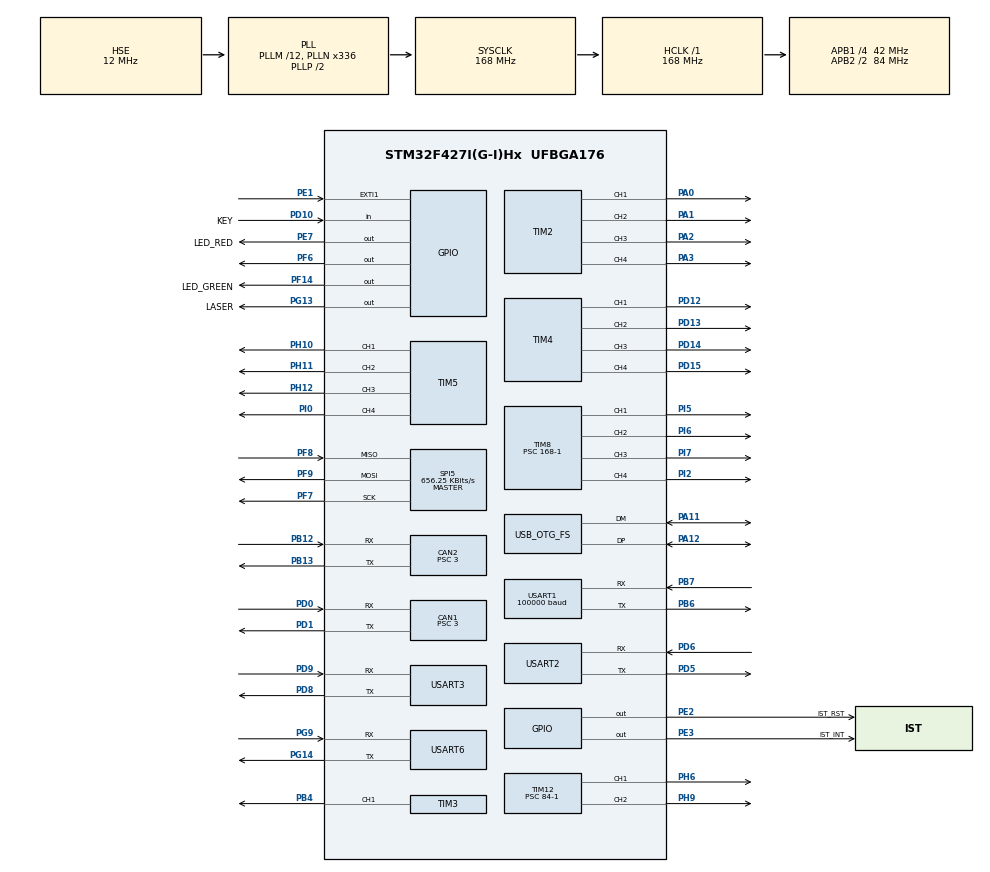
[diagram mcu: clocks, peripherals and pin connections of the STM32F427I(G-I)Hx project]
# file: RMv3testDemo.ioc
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CAN1.ABOM=DISABLE
CAN1.BS1=CAN_BS1_9TQ
CAN1.BS2=CAN_BS2_4TQ
CAN1.CalculateTimeBit=1000
CAN1.CalculateTimeQuantum=71.42857142857143
CAN1.Mode=CAN_MODE_LOOPBACK
CAN1.Prescaler=3
CAN1.SJW=CAN_SJW_1TQ
CAN1.TXFP=ENABLE
CAN2.ABOM=DISABLE
CAN2.BS1=CAN_BS1_9TQ
CAN2.BS2=CAN_BS2_4TQ
CAN2.CalculateTimeBit=1000
CAN2.CalculateTimeQuantum=71.42857142857143
CAN2.Mode=CAN_MODE_LOOPBACK
CAN2.Prescaler=3
CAN2.TXFP=ENABLE
Dma.Request0=USART1_RX
Dma.USART1_RX.0.Direction=DMA_PERIPH_TO_MEMORY
Dma.USART1_RX.0.FIFOMode=DMA_FIFOMODE_DISABLE
Dma.USART1_RX.0.Instance=DMA2_Stream2
Dma.USART1_RX.0.MemDataAlignment=DMA_MDATAALIGN_BYTE
Dma.USART1_RX.0.MemInc=DMA_MINC_ENABLE
Dma.USART1_RX.0.Mode=DMA_CIRCULAR
Dma.USART1_RX.0.PeriphDataAlignment=DMA_PDATAALIGN_BYTE
Dma.USART1_RX.0.PeriphInc=DMA_PINC_DISABLE
Dma.USART1_RX.0.Priority=DMA_PRIORITY_LOW
Mcu.Family=STM32F4
Mcu.Name=STM32F427I(G-I)Hx
Mcu.Package=UFBGA176
NVIC.CAN1_RX0_IRQn=true\:1\:1\:true\:false\:true
NVIC.CAN1_TX_IRQn=true\:1\:1\:true\:false\:true
NVIC.CAN2_RX0_IRQn=true\:1\:1\:true\:false\:true
NVIC.CAN2_TX_IRQn=true\:1\:1\:true\:false\:true
NVIC.DMA2_Stream2_IRQn=true\:0\:0\:false\:false\:true
NVIC.EXTI1_IRQn=true\:0\:2\:false\:false\:true
NVIC.OTG_FS_IRQn=true\:1\:2\:true\:false\:true
NVIC.PriorityGroup=NVIC_PRIORITYGROUP_2
NVIC.TIM6_DAC_IRQn=true\:0\:1\:false\:false\:true
NVIC.USART1_IRQn=true\:0\:2\:true\:false\:true
NVIC.USART2_IRQn=true\:1\:0\:true\:false\:true
NVIC.USART3_IRQn=true\:1\:0\:true\:false\:true
NVIC.USART6_IRQn=true\:1\:0\:true\:false\:true
PA0/WKUP.Signal=S_TIM2_CH1_ETR
PA1.Signal=S_TIM2_CH2
PA11.Mode=Device_Only
PA11.Signal=USB_OTG_FS_DM
PA12.GPIO_PuPd=GPIO_PULLUP
PA12.Mode=Device_Only
PA12.Signal=USB_OTG_FS_DP
PA13.Mode=Serial_Wire
PA13.Signal=SYS_JTMS-SWDIO
PA14.Mode=Serial_Wire
PA14.Signal=SYS_JTCK-SWCLK
PA2.Signal=S_TIM2_CH3
PA3.Signal=S_TIM2_CH4
PB12.Mode=Slave
PB12.Signal=CAN2_RX
PB13.Mode=Slave
PB13.Signal=CAN2_TX
PB4.Signal=S_TIM3_CH1
PB6.Mode=Multiprocessor_communication
PB6.Signal=USART1_TX
PB7.Mode=Multiprocessor_communication
PB7.Signal=USART1_RX
PD0.Mode=Master
PD0.Signal=CAN1_RX
PD1.Mode=Master
PD1.Signal=CAN1_TX
PD10.GPIO_Label=KEY
PD10.Signal=GPIO_Input
PD12.Signal=S_TIM4_CH1
PD13.Signal=S_TIM4_CH2
PD14.Signal=S_TIM4_CH3
PD15.Signal=S_TIM4_CH4
PD5.Mode=Multiprocessor_communication
PD5.Signal=USART2_TX
PD6.Mode=Multiprocessor_communication
PD6.Signal=USART2_RX
PD8.Mode=Multiprocessor_communication
PD8.Signal=USART3_TX
PD9.Mode=Multiprocessor_communication
PD9.Signal=USART3_RX
PE1.Signal=GPXTI1
PE2.GPIO_Label=IST_RST
PE2.GPIO_Speed=GPIO_SPEED_FREQ_VERY_HIGH
PE2.Signal=GPIO_Output
PE3.GPIO_Label=IST_INT
PE3.GPIO_Speed=GPIO_SPEED_FREQ_VERY_HIGH
PE3.Signal=GPIO_Output
PE7.GPIO_Label=LED_RED
PE7.Signal=GPIO_Output
PF14.GPIO_Label=LED_GREEN
PF14.Signal=GPIO_Output
PF6.Signal=GPIO_Output
PF7.Mode=Full_Duplex_Master
PF7.Signal=SPI5_SCK
PF8.Mode=Full_Duplex_Master
PF8.Signal=SPI5_MISO
PF9.Mode=Full_Duplex_Master
PF9.Signal=SPI5_MOSI
PG13.GPIO_Label=LASER
PG13.Signal=GPIO_Output
PG14.Mode=Multiprocessor_communication
PG14.Signal=USART6_TX
PG9.Mode=Multiprocessor_communication
PG9.Signal=USART6_RX
PH0/OSC_IN.Mode=HSE-External-Oscillator
PH0/OSC_IN.Signal=RCC_OSC_IN
PH1/OSC_OUT.Mode=HSE-External-Oscillator
PH1/OSC_OUT.Signal=RCC_OSC_OUT
PH10.Signal=S_TIM5_CH1
PH11.Signal=S_TIM5_CH2
PH12.Signal=S_TIM5_CH3
PH6.Signal=S_TIM12_CH1
PH9.Signal=S_TIM12_CH2
PI0.Signal=S_TIM5_CH4
PI2.Signal=S_TIM8_CH4
PI5.Signal=S_TIM8_CH1
PI6.Signal=S_TIM8_CH2
PI7.Signal=S_TIM8_CH3
ProjectManager.HeapSize=0x1000
ProjectManager.StackSize=0x400
ProjectManager.TargetToolchain=MDK-ARM V5
RCC.48MHZClocksFreq_Value=48000000
RCC.AHBFreq_Value=168000000
RCC.APB1CLKDivider=RCC_HCLK_DIV4
RCC.APB1Freq_Value=42000000
RCC.APB1TimFreq_Value=84000000
RCC.APB2CLKDivider=RCC_HCLK_DIV2
RCC.APB2Freq_Value=84000000
RCC.APB2TimFreq_Value=168000000
RCC.CortexFreq_Value=168000000
RCC.HCLKFreq_Value=168000000
RCC.HSE_VALUE=12000000
RCC.HSI_VALUE=16000000
RCC.LSE_VALUE=32768
RCC.PLLM=12
RCC.PLLN=336
RCC.PLLQ=7
RCC.SYSCLKFreq_VALUE=168000000
RCC.SYSCLKSource=RCC_SYSCLKSOURCE_PLLCLK
RCC.VCOOutputFreq_Value=336000000
SH.S_TIM12_CH1.0=TIM12_CH1,PWM Generation1 CH1
SH.S_TIM12_CH2.0=TIM12_CH2,PWM Generation2 CH2
SH.S_TIM2_CH1_ETR.0=TIM2_CH1,PWM Generation1 CH1
SH.S_TIM2_CH2.0=TIM2_CH2,PWM Generation2 CH2
SH.S_TIM2_CH3.0=TIM2_CH3,PWM Generation3 CH3
SH.S_TIM2_CH4.0=TIM2_CH4,PWM Generation4 CH4
SH.S_TIM3_CH1.0=TIM3_CH1,PWM Generation1 CH1
SH.S_TIM4_CH1.0=TIM4_CH1,PWM Generation1 CH1
SH.S_TIM4_CH2.0=TIM4_CH2,PWM Generation2 CH2
SH.S_TIM4_CH3.0=TIM4_CH3,PWM Generation3 CH3
SH.S_TIM4_CH4.0=TIM4_CH4,PWM Generation4 CH4
SH.S_TIM5_CH1.0=TIM5_CH1,PWM Generation1 CH1
SH.S_TIM5_CH2.0=TIM5_CH2,PWM Generation2 CH2
SH.S_TIM5_CH3.0=TIM5_CH3,PWM Generation3 CH3
SH.S_TIM5_CH4.0=TIM5_CH4,PWM Generation4 CH4
SH.S_TIM8_CH1.0=TIM8_CH1,PWM Generation1 CH1
SH.S_TIM8_CH2.0=TIM8_CH2,PWM Generation2 CH2
SH.S_TIM8_CH3.0=TIM8_CH3,PWM Generation3 CH3
SH.S_TIM8_CH4.0=TIM8_CH4,PWM Generation4 CH4
SPI5.BaudRatePrescaler=SPI_BAUDRATEPRESCALER_128
SPI5.CalculateBaudRate=656.25 KBits/s
SPI5.Mode=SPI_MODE_MASTER
TIM12.Channel-PWM\ Generation2\ CH2=TIM_CHANNEL_2
TIM12.Period=2500-1
TIM12.Prescaler=84-1
TIM12.Pulse-PWM\ Generation1\ CH1=1000
TIM2.Channel-PWM\ Generation2\ CH2=TIM_CHANNEL_2
TIM2.Channel-PWM\ Generation3\ CH3=TIM_CHANNEL_3
TIM2.Channel-PWM\ Generation4\ CH4=TIM_CHANNEL_4
TIM3.Prescaler=84-1
TIM4.Channel-PWM\ Generation2\ CH2=TIM_CHANNEL_2
TIM4.Channel-PWM\ Generation3\ CH3=TIM_CHANNEL_3
TIM4.Channel-PWM\ Generation4\ CH4=TIM_CHANNEL_4
TIM5.Channel-PWM\ Generation2\ CH2=TIM_CHANNEL_2
TIM5.Channel-PWM\ Generation3\ CH3=TIM_CHANNEL_3
TIM5.Channel-PWM\ Generation4\ CH4=TIM_CHANNEL_4
TIM6.Period=1000
TIM6.Prescaler=84-1
TIM8.Channel-PWM\ Generation2\ CH2=TIM_CHANNEL_2
TIM8.Channel-PWM\ Generation3\ CH3=TIM_CHANNEL_3
TIM8.Channel-PWM\ Generation4\ CH4=TIM_CHANNEL_4
TIM8.Prescaler=168-1
USART1.BaudRate=100000
USART1.Mode=UART_MODE_RX
USART1.Parity=UART_PARITY_EVEN
USB_DEVICE.CLASS_NAME-CDC_FS=CDC
USB_DEVICE.CLASS_NAME_FS=CDC
USB_DEVICE.USBD_CDC_INTERVAL-CDC_FS=5
USB_DEVICE.USBD_HandleTypeDef-CDC_FS=hUsbDeviceFS
USB_DEVICE.USBD_MAX_STR_DESC_SIZ-CDC_FS=128
USB_DEVICE.VirtualMode-CDC_FS=Cdc
USB_DEVICE.VirtualModeFS=Cdc_FS
USB_OTG_FS.VirtualMode=Device_Only
USB_OTG_FS.vbus_sensing_enable=DISABLE
VP_TIM12_VS_ClockSourceINT.Mode=Internal
VP_TIM2_VS_ClockSourceINT.Mode=Internal
VP_TIM3_VS_ClockSourceINT.Mode=Internal
VP_TIM4_VS_ClockSourceINT.Mode=Internal
VP_TIM5_VS_ClockSourceINT.Mode=Internal
VP_TIM6_VS_ClockSourceINT.Mode=Enable_Timer
VP_TIM8_VS_ClockSourceINT.Mode=Internal
VP_USB_DEVICE_VS_USB_DEVICE_CDC_FS.Mode=CDC_FS
board=RMv3testDemo

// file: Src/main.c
/**
  ******************************************************************************
  * File Name          : main.c
  * Description        : Main program body
  ******************************************************************************
  *
  * Copyright (c) 2016 STMicroelectronics International N.V.
  * All rights reserved.
  *
  * Redistribution and use in source and binary forms, with or without
  * modification, are permitted, provided that the following conditions are met:
  *
  * 1. Redistribution of source code must retain the above copyright notice,
  *    this list of conditions and the following disclaimer.
  * 2. Redistributions in binary form must reproduce the above copyright notice,
  *    this list of conditions and the following disclaimer in the documentation
  *    and/or other materials provided with the distribution.
  * 3. Neither the name of STMicroelectronics nor the names of other
  *    contributors to this software may be used to endorse or promote products
  *    derived from this software without specific written permission.
  * 4. This software, including modifications and/or derivative works of this
  *    software, must execute solely and exclusively on microcontroller or
  *    microprocessor devices manufactured by or for STMicroelectronics.
  * 5. Redistribution and use of this software other than as permitted under
  *    this license is void and will automatically terminate your rights under
  *    this license.
  *
  * THIS SOFTWARE IS PROVIDED BY STMICROELECTRONICS AND CONTRIBUTORS "AS IS"
  * AND ANY EXPRESS, IMPLIED OR STATUTORY WARRANTIES, INCLUDING, BUT NOT
  * LIMITED TO, THE IMPLIED WARRANTIES OF MERCHANTABILITY, FITNESS FOR A
  * PARTICULAR PURPOSE AND NON-INFRINGEMENT OF THIRD PARTY INTELLECTUAL PROPERTY
  * RIGHTS ARE DISCLAIMED TO THE FULLEST EXTENT PERMITTED BY LAW. IN NO EVENT
  * SHALL STMICROELECTRONICS OR CONTRIBUTORS BE LIABLE FOR ANY DIRECT, INDIRECT,
  * INCIDENTAL, SPECIAL, EXEMPLARY, OR CONSEQUENTIAL DAMAGES (INCLUDING, BUT NOT
  * LIMITED TO, PROCUREMENT OF SUBSTITUTE GOODS OR SERVICES; LOSS OF USE, DATA,
  * OR PROFITS; OR BUSINESS INTERRUPTION) HOWEVER CAUSED AND ON ANY THEORY OF
  * LIABILITY, WHETHER IN CONTRACT, STRICT LIABILITY, OR TORT (INCLUDING
  * NEGLIGENCE OR OTHERWISE) ARISING IN ANY WAY OUT OF THE USE OF THIS SOFTWARE,
  * EVEN IF ADVISED OF THE POSSIBILITY OF SUCH DAMAGE.
  *
  ******************************************************************************
  */
#include "main.h"
#include "stm32f4xx_hal.h"
#include "can.h"
#include "dma.h"
#include "spi.h"
#include "tim.h"
#include "usart.h"
#include "usb_device.h"
#include "gpio.h"
#include "test_beep.h"
#include "stdio.h"
/* USER CODE BEGIN Includes */
#include "test_imu.h"
#include "test_app.h"
#include "test_can.h"
#include "test_uart.h"
#include "Yaw_Contral.h"
#include "Pitch_Control.h"
#include "DataScope_DP.h"
//遥控器参数
int ch0=0 , ch1=0 , ch2=0 , ch3=0 , s1=0 , s2=0  ; //遥控器拨杆
int16_t MouseX = 0 , MouseY = 0 , MouseZ = 0 ;    //鼠标
uint8_t MouseLeft = 0 , MouseRight = 0 ;  //鼠标左右键
uint16_t key_All = 0 , key_W = 0 , key_S = 0 , key_A = 0 ,
		key_D = 0 , key_Q = 0 , key_E = 0 , key_Shift = 0 , key_Ctrl = 0 ;    //键盘
int16_t front_back = 0 , left_right = 0 ;   //键盘控制的速度
int Dbus = 0 ;
int NUM1=0 , NUM2=0 , NUM3=0 , NUM4  = 0  , NUM5 = 0 , NUM6 = 0 , NUM7 = 0 , NUM8 = 0 ;    //电流值
int Speed1=0 , Speed2=0 , Speed3=0 , Speed4=0 ;      //目标速度
int16_t ecode1 = 0 , ecode2 = 0 , ecode3 = 0 , ecode4 = 0 ,ecode5 = 0 , ecode5_speed=0,ecode6 = 0 ,ecode6_speed=0,ecode7 = 0 , ecode7_speed = 0,ecode8_speed = 0;  //编码值
int err[2]={0,0};
unsigned char Tower_flag1,Tower_flag2;
//static int ecode_pitch_speed  , ecode_pitch_last_speed ;
float Pitch = 0 ;              //云台Pitch值
float Pitch_Max = 90 ;              //Pitch最大值
float Pitch_Min = -90 ;               //Pitch最小值,原来
int16_t Test_Pitch = 720  , Test_Pitch_Default = 720 ;
int16_t Test_Pitch_Min = 400 ;
int16_t Test_Pitch_Max = 1100 ;
int16_t Pitch_Except_I = 0 ;
int16_t Mouse_Right_Flag = 0 ;
int8_t Pitch_Init_Flag = 0 ;
int8_t sendcount,haha;
//步兵1云台
//#define Yaw_const 221 				//云台Yaw值
//float Yaw = Yaw_const;
//float Yaw_Max = Yaw_const+65;           //Yaw最大值
//float Yaw_Min = Yaw_const-65;         //Yaw最小值
//extern float outshow_num, outshow_num1, Pitch_Location_least , Pitch_Speed_least , Pitch_except_v;
//////步兵5云台
#define Yaw_const 143 				//云台Yaw值
int16_t Yaw = Yaw_const;
int16_t Yaw_Max = Yaw_const+35;           //Yaw最大值
int16_t Yaw_Min = Yaw_const-35;         //Yaw最小值
//英雄车云台r
//#define Yaw_const 223 				//云台Yaw值
//int16_t Yaw = Yaw_const;
//int16_t Yaw_Max = Yaw_const+35;           //Yaw最大值
//int16_t Yaw_Min = Yaw_const-35;         //Yaw最小值

int16_t Yaw_except = 0 ;
int16_t Chassis_Max_I = 8000 ;//4000
int16_t Chassis_Max_I_Default = 4000  , Chassis_Max_I_Default_More = 5000 ;
float test_P;
uint8_t Yaw_except_flag = 0  , Yaw_Chassis_flag = 0  , Yaw_Chassis_auto_flag = 0  , Pitch_except_flag = 0 ;
extern float Read_Pitch, Read_GYaw, Read_Roll , Read_wx , Read_wy , Read_wz ;//陀螺仪数值
extern int16_t Yaw_Chassis_Speed ;
extern int16_t Yaw_Location_least , Yaw_Speed_least , Yaw_except_i ;
extern int16_t Yaw_Chassis_least , Yaw_Chassis_PID_diff_feedback  , Yaw_except_v  , Pitch_except_i ;
/****************英雄车云台参数*****************/
//int16_t Pitch_Hero = 3720 ;
//int16_t Pitch_Max_Hero = 4270 ;
//int16_t Pitch_Min_Hero = 3070 ;
/***********************************************/
//static float least=0 , Integral_least=0 , Last_least=0 ;  //云台PID差积分微分值
static float Speed_Last_Least[5] = {0 , 0 , 0 , 0, 0};
//static float Yaw_least=0 , Yaw_Integral_least=0 , Yaw_Last_least=0 ;  //云台PID差积分微分值
/*****************陀螺仪数据******************/
uint8_t mpu_buff[20];
IMUDataTypedef imu_data = {0,0,0,0,0,0,0,0,0,0};
IMUDataTypedef imu_data_offest = {0,0,0,0,0,0,0,0,0,0};
/******************************************/
#define BUFFER_SIZE 18
uint8_t rx_len=0;
uint8_t recv_end_flag=0;
	int Yaw_DiffValue[5],Yaw_IntegralValue[5];
uint8_t rx_buffer[18];
//extern uint8_t aRxMessage[50];
/* USER CODE END Includes */

/* USER CODE BEGIN PV */
/* Private variables ---------------------------------------------------------*/

/* USER CODE END PV */

void SystemClock_Config(void);
void Error_Handler(void);
void tim122_pwm_setvalue(uint16_t value);//设置摩擦轮
void tim121_pwm_setvalue(uint16_t value);
void bigshoot1_pwm_setvalue(uint16_t value);//英雄车
void bigshoot2_pwm_setvalue(uint16_t value);
void ReadContral(void);//读遥控器
void ReadEncode(void);//读编码器
void Contral(void);//控制
int PitchPID(int pecode , int pexcept , int pnum);//云台Pitch PID
int YawPID(int yecode , int yexcept , int ynum);//云台Yaw  PID
int SpeedPID(int encoder , int except , int electric , int which);  // 底盘PID
void SetShoot(int shoot);//摩擦轮斜坡函数
void user_pwm_setvalue(uint16_t value) ;
void ShowDP(float var1 ,float var2 ,float var3 , uint8_t showPDs);
int BulletPID(int n , int n0 , int now_e,char number);
int Yaw_Location_PID_Right(int16_t R_value,int16_t C_value);
int Yaw_Speed_PID_Left(int16_t R_value,int16_t C_value);
int Pitch_Location_PID_Right(int16_t R_value,int16_t C_value);
int Pitch_Speed_PID_Left(int16_t R_value,int16_t C_value);
int xa,xb,xc,xd;//for test
int CAR_BUS;
int serial_lock;

/* USER CODE BEGIN PFP */
/* Private function prototypes -----------------------------------------------*/

/* USER CODE END PFP */

/* USER CODE BEGIN 0 */

int NUM7_8_value = 0;
void air_operated_Init()
{
	 GPIO_InitTypeDef GPIO_InitStruct;

  /* GPIO Ports Clock Enable */
  __HAL_RCC_GPIOC_CLK_ENABLE();
	__HAL_RCC_GPIOB_CLK_ENABLE();
	__HAL_RCC_GPIOH_CLK_ENABLE();

	GPIO_InitStruct.Pin = GPIO_PIN_0|GPIO_PIN_1|GPIO_PIN_2|GPIO_PIN_3|GPIO_PIN_4|GPIO_PIN_5;
  GPIO_InitStruct.Mode = GPIO_MODE_OUTPUT_PP;
  GPIO_InitStruct.Pull = GPIO_PULLUP;
  GPIO_InitStruct.Speed = GPIO_SPEED_FREQ_HIGH;
  HAL_GPIO_Init(GPIOC, &GPIO_InitStruct);

	GPIO_InitStruct.Pin = GPIO_PIN_0|GPIO_PIN_1;
  GPIO_InitStruct.Mode = GPIO_MODE_OUTPUT_PP;
  GPIO_InitStruct.Pull = GPIO_PULLUP;
  GPIO_InitStruct.Speed = GPIO_SPEED_FREQ_HIGH;
  HAL_GPIO_Init(GPIOB, &GPIO_InitStruct);

	GPIO_InitStruct.Pin = GPIO_PIN_2|GPIO_PIN_3|GPIO_PIN_4|GPIO_PIN_5;
  GPIO_InitStruct.Mode = GPIO_MODE_OUTPUT_PP;
  GPIO_InitStruct.Pull = GPIO_PULLUP;
  GPIO_InitStruct.Speed = GPIO_SPEED_FREQ_HIGH;
  HAL_GPIO_Init(GPIOH, &GPIO_InitStruct);

	HAL_GPIO_WritePin(GPIOC, GPIO_PIN_0|GPIO_PIN_1|GPIO_PIN_2|GPIO_PIN_3|GPIO_PIN_4|GPIO_PIN_5, GPIO_PIN_RESET);
	HAL_GPIO_WritePin(GPIOB, GPIO_PIN_0|GPIO_PIN_1, GPIO_PIN_RESET);
	HAL_GPIO_WritePin(GPIOH, GPIO_PIN_2|GPIO_PIN_3|GPIO_PIN_4|GPIO_PIN_5, GPIO_PIN_SET);
	//PC0救推，PB0救压
//	HAL_GPIO_WritePin(GPIOC, GPIO_PIN_0|GPIO_PIN_1|GPIO_PIN_2|GPIO_PIN_3|GPIO_PIN_4|GPIO_PIN_5, GPIO_PIN_SET);
//	HAL_GPIO_WritePin(GPIOB, GPIO_PIN_0|GPIO_PIN_1, GPIO_PIN_SET);
}

/* USER CODE END 0 */

int main(void)
{
	//uint8_t half_falg=0,x=0;
	//int run_sign = 0;

  /* MCU Configuration----------------------------------------------------------*/

  /* Reset of all peripherals, Initializes the Flash interface and the Systick. */
  xa = -100;
	xb = 200;
	xc = 300;
	xd = 400;
	CAR_BUS = 0;
	serial_lock = 1;
	HAL_Init();

  /* Configure the system clock */
  SystemClock_Config();

  /* Initialize all configured peripherals */
  MX_GPIO_Init();
  MX_DMA_Init();
  MX_CAN1_Init();
  MX_CAN2_Init();
  MX_SPI5_Init();
  MX_TIM2_Init();
  MX_TIM4_Init();
  MX_TIM5_Init();
  MX_TIM6_Init();
  MX_TIM8_Init();
  MX_TIM12_Init();
  MX_USART1_UART_Init();
  MX_USART2_UART_Init();
  MX_USART3_UART_Init();
  MX_USART6_UART_Init();
  MX_USB_DEVICE_Init();
  MX_TIM3_Init();

	air_operated_Init();

  /* USER CODE BEGIN 2 */
  //MPU6500_Init();
  //IST8310_Init();
  HAL_TIM_Base_Start_IT(&htim6);

  HAL_TIM_PWM_Start(&htim3, TIM_CHANNEL_1);

  CanFilter_Init(&hcan1);
  CanFilter_Init(&hcan2);
  HAL_CAN_Receive_IT(&hcan1, CAN_FIFO0);
  HAL_CAN_Receive_IT(&hcan2, CAN_FIFO0);

  HAL_UART_Receive_IT(&huart2, uart2_rx_buff, 1);
  HAL_UART_Receive_IT(&huart3, uart3_rx_buff, 1);
  HAL_UART_Receive_IT(&huart6, uart6_rx_buff, 1);

  //if(MPU_id != 0)sTestResult.imuTest = 0x01;
  /* USER CODE END 2 */

  /* Infinite loop */
  //摩擦轮初始化
  //HAL_TIM_PWM_Start(&htim12, TIM_CHANNEL_1);
  //HAL_TIM_PWM_Start(&htim12, TIM_CHANNEL_2);
	//HAL_TIM_PWM_Start(&htim8, TIM_CHANNEL_3);
  //HAL_TIM_PWM_Start(&htim8, TIM_CHANNEL_4);

	//tim121_pwm_setvalue(0xFFFF);
 // tim122_pwm_setvalue(0xFFFF);

	//tim121_pwm_setvalue(0);
 // tim122_pwm_setvalue(0);

  //tim121_pwm_setvalue(833);
  //tim122_pwm_setvalue(833);
	//user_pwm_setvalue(2000);

//	TIM8->CCR3 = 1000;
//	TIM8->CCR4 = 1000;

	//user_pwm_setvalue(1000);

  __HAL_UART_ENABLE_IT(&huart1, UART_IT_IDLE);    //使能空闲中断
  //HAL_GPIO_WritePin(GPIOC,GPIO_PIN_2,GPIO_PIN_SET);//取弹气缸1撑腿
  //HAL_Delay(200);
	//HAL_GPIO_WritePin(GPIOC, GPIO_PIN_0|GPIO_PIN_1|GPIO_PIN_2|GPIO_PIN_3|GPIO_PIN_4|GPIO_PIN_5, GPIO_PIN_SET);
	//HAL_GPIO_WritePin(GPIOB, GPIO_PIN_0|GPIO_PIN_1, GPIO_PIN_SET);
	HAL_GPIO_WritePin(GPIOC,GPIO_PIN_2,GPIO_PIN_SET);//取弹气缸1缩腿
  while (1)
  {
			//printf("%d %d %d %d %d %d \n" , ch0 , ch1 , ch2 , ch3 , s1 , s2);
			//		second_bodan_count++;
//		if(second_bodan_count>=40000)
//			second_bodan_count=0;
		//printf("%d  %d    %d\r\n",s1,s2,ecode7_speed);

			//printf("%d , %d ,%d , %d\n",xa,xb,xc,xd);
			HAL_Delay(50);
		 //printf("%d   \r\n",ch2);
		 //printf("%f , %f\r\n",Read_GYaw,Read_Pitch);//
		 //printf("%d \r\n",ecode5);
		//HAL_Delay(1);
		//Contral();

		//printf("%c\n",USART_RX_BUF[3]);
		//printf("%d\n",text_cx);
		//if(text_cx>100)
			//text_cx=0;

		}

}

//读取遥控器参数
void ReadContral(){
	if(recv_end_flag ==1){
		//printf("rx_len=%d\r\n",rx_len);
		ch0 = (rx_buffer[0]| (rx_buffer[1] << 8)) & 0x07ff;
		ch1 = ((rx_buffer[1] >> 3) | (rx_buffer[2] << 5)) & 0x07ff;
		ch2 = ((rx_buffer[2] >> 6) | (rx_buffer[3] << 2) | (rx_buffer[4] << 10)) & 0x07ff;
		ch3 = ((rx_buffer[4] >> 1) | (rx_buffer[5] << 7)) & 0x07ff;
		s1 = ((rx_buffer[5] >> 4)& 0x000C) >> 2;
		s2 = ((rx_buffer[5] >> 4)& 0x0003);
		MouseX = rx_buffer[6] | (rx_buffer[7] << 8);
		MouseY = rx_buffer[8] | (rx_buffer[9] << 8);
		MouseZ = rx_buffer[10] | (rx_buffer[11] << 8);
		MouseLeft = rx_buffer[12];
		MouseRight = rx_buffer[13];
		key_All = rx_buffer[14] | (rx_buffer[15] << 8);
		key_W = key_All & 1 ;
		key_S = (key_All & (1 << 1 ))>>1;
		key_A = (key_All & (1 << 2 ))>>2;
		key_D = (key_All & (1 << 3 ))>>3;
		key_Shift = (key_All & (1 << 4 ))>>4;
		key_Ctrl = (key_All & (1 << 5 ))>>5;
		key_Q = (key_All & (1 << 6 ))>>6;
		key_E = (key_All & (1 << 7 ))>>7;
		//printf("%d %d %d %d %d %d \n" , ch0 , ch1 , ch2 , ch3 , s1 , s2);
		//printf("%d %d %d %d %d %d \n" , MouseX , MouseY , MouseZ , MouseLeft , MouseRight , key_All);
		//printf("%d %d %d %d %d %d %d %d \n" , key_W , key_S , key_A , key_D , key_Shift , key_Ctrl ,  key_Q , key_E );
		rx_len=0;
		recv_end_flag=0;
		//检测遥控器是否开启
		if((ch0 != 0 ) && (ch1 != 0 )&&(ch2 != 0 ) && (ch3 != 0 )){
			Dbus = 1 ;
		}else{
			Dbus = 0 ;
		}
	}
	HAL_UART_Receive_DMA(&huart1,rx_buffer,BUFFER_SIZE);
}
//读编码器的值
void ReadEncode(){
	ecode1 = (can1_rx_data_buf[0][2]<<8) | can1_rx_data_buf[0][3] ;
	ecode2 = (can1_rx_data_buf[1][2]<<8) | can1_rx_data_buf[1][3] ;
	ecode3 = (can1_rx_data_buf[2][2]<<8) | can1_rx_data_buf[2][3] ;
	ecode4 = (can1_rx_data_buf[3][2]<<8) | can1_rx_data_buf[3][3] ;

	ecode5 = ((can1_rx_data_buf[4][0]<<8) | can1_rx_data_buf[4][1]);//数值减小20倍
	ecode5_speed= ((can1_rx_data_buf[4][2]<<8) | can1_rx_data_buf[4][3]);
  ecode6 = ((can1_rx_data_buf[5][0]<<8) | can1_rx_data_buf[5][1]);//数值减小20倍
	ecode6_speed = ((can1_rx_data_buf[5][2]<<8) | can1_rx_data_buf[5][3]);
	//ecode7 = ((can1_rx_data_buf[6][0]<<8) | can1_rx_data_buf[6][1]);
	//ecode7_speed = ((can1_rx_data_buf[6][2]<<8) | can1_rx_data_buf[6][3]);
	//ecode8_speed = ((can1_rx_data_buf[7][2]<<8) | can1_rx_data_buf[7][3]);
if(ecode1 == -3) ecode1 = 0 ;
if(ecode2 == -3) ecode2 = 0 ;
if(ecode3 == -3) ecode3 = 0 ;
if(ecode4 == -3) ecode4 = 0 ;

	//printf("ecode : %d  %d  %d  %d  %d  %d  %d  %d \n" , ecode1 , ecode2 , ecode3 , ecode4 , ecode5 , ecode6 , ecode7 , ecode8);
}

void Contral2(){
/****************************可左右平移，上下俯仰，前进后退***********************************/
/*****************************普通模式云台Yaw轴不动，底盘可旋转，云台Pitch可俯仰************************************/
		//Speed1 = ((1024 - ch1) + -(1024 - ch0))*12 -Yaw_Chassis_Speed;
		//Speed2 = -((1024 - ch1) + (1024 - ch0))*12 -Yaw_Chassis_Speed;
		//Speed3 = ((1024 - ch1) + (1024 - ch0))*12 -Yaw_Chassis_Speed;
		//Speed4 = -((1024 - ch1) + -(1024 - ch0))*12 -Yaw_Chassis_Speed;
		if (CAR_BUS == 1){
		NUM1 = SpeedPID(ecode1 , Speed1 , NUM1 , 0);
		NUM2 = SpeedPID(ecode2 , Speed2 , NUM2 , 1);
		NUM3 = SpeedPID(ecode3 , Speed3 , NUM3 , 2);
		NUM4 = SpeedPID(ecode4 , Speed4 , NUM4 , 3);
		}else{
			NUM1 = 0;
			NUM2 = 0;
			NUM3 = 0;
			NUM4 = 0;
		}
}

void Contral(){
	if(Dbus == 1){
/****************************可左右平移，上下俯仰，前进后退***********************************/
		if (s2 == 3)
			{
//控制俯仰的Pitch电机ID设置成1,Yaw设置成2
				if(Pitch_except_flag < 25){
				Pitch_except_flag++;
			}else{
				Pitch_except_flag = 0 ;
				Pitch += ( 1024 - ch3 )/50;
				if(Pitch <0)Pitch += 360;
				if(Pitch >= 360)Pitch -= 360 ;
				if(Pitch < 100)Pitch = 100;//限位，限制角度成100-300度
				if(Pitch > 300)Pitch = 300 ;//限位，限制角度成100-300度
				Pitch_except_flag = 0 ;
			}

	    	ecode5=(ecode5/22.75);//转换成0-360
		   // Pitch=(360-Pitch);   //加这句可让遥控控制方向与原来方向反过来
		    NUM5 = Pitch_Speed_PID_Left(Pitch_Location_PID_Right(Pitch,ecode5),ecode5_speed);

				if(Yaw_except_flag < 25){
				Yaw_except_flag++;
			}else{

				Yaw_except += ( 1024 - ch2 )/50;
				if(Yaw_except < 0 )Yaw_except += 360;
				if(Yaw_except >= 360)Yaw_except -= 360 ;

				if(Yaw_except <100 )Yaw_except =100;//限位，限制角度成100-300度
   			if(Yaw_except >300)Yaw_except = 300 ;	//限位，限制角度成100-300度
				Yaw_except_flag = 0 ;
			}
		  ecode6=(ecode6/22.75);
	    Yaw=Yaw_except;
	//	  Yaw=(360-Yaw);//加这句可让遥控控制方向与原来方向反过来
		  NUM6 = Yaw_Speed_PID_Left(Yaw_Location_PID_Right(Yaw,ecode6),ecode6_speed);

			Speed1= ((1024 - ch1) + -(1024 - ch0))*12;
			Speed2 = -((1024 - ch1) + (1024 - ch0))*12;
			Speed3 = ((1024 - ch1) + (1024 - ch0))*12;
			Speed4 = -((1024 - ch1) + -(1024 - ch0))*12;
		  }
/*****************************普通模式云台Yaw轴不动，底盘可旋转，云台Pitch可俯仰************************************/
		else if(s2 == 1){

								if(Pitch_except_flag < 25){
				Pitch_except_flag++;
			}else{
				Pitch_except_flag = 0 ;
				Pitch += ( 1024 - ch3 )/50;
				if(Pitch <0)Pitch += 360;
				if(Pitch >= 360)Pitch -= 360 ;

				if(Pitch < 100)Pitch = 100;//限位，限制角度成100-300度
				if(Pitch > 300)Pitch = 300 ;//限位，限制角度成100-300度
				Pitch_except_flag = 0 ;
			}

	    	ecode5=(ecode5/22.75);//转换成0-360
		   // Pitch=(360-Pitch);   //加这句可让遥控控制方向与原来方向反过来
		    NUM5 = Pitch_Speed_PID_Left(Pitch_Location_PID_Right(Pitch,ecode5),ecode5_speed);

			Yaw_Chassis_Speed =( 1024 - ch2 )*6;
			Speed1= ((1024 - ch1) + -(1024 - ch0))*12 -Yaw_Chassis_Speed;
			Speed2 = -((1024 - ch1) + (1024 - ch0))*12 -Yaw_Chassis_Speed;
			Speed3 = ((1024 - ch1) + (1024 - ch0))*12 -Yaw_Chassis_Speed;
			Speed4 = -((1024 - ch1) + -(1024 - ch0))*12 -Yaw_Chassis_Speed;

		}
/******************************底盘电机全部断电************************************/
		else if(s2 == 2){

			NUM1=NUM2=NUM3=NUM4=NUM5=NUM6=0;

		}
		NUM1 = SpeedPID(ecode1 , Speed1 , NUM1 , 0);
		NUM2 = SpeedPID(ecode2 , Speed2 , NUM2 , 1);
		NUM3 = SpeedPID(ecode3 , Speed3 , NUM3 , 2);
		NUM4 = SpeedPID(ecode4 , Speed4 , NUM4 , 3);

	}
	else{
		NUM1 = 0 ; NUM2 = 0 ; NUM3 = 0 ;
		NUM4 = 0 ; NUM5 = 0;NUM6 = 0;NUM7 = 0;NUM8 = 0;

	}
}

int Yaw_Location_PID_Right(int16_t R_value,int16_t C_value)
{
	float P = 2, I = 0.002, D = 0;
	float C_new=0,C_old=0,C_miss=0;
	int CurrentValue=0;
	C_old = Yaw_DiffValue[1];
	C_new = R_value - C_value;
	if(C_new>180)C_new-=360;
	if(C_new<(-180))C_new+=360;
	C_miss = C_new - C_old;
	Yaw_DiffValue[1] = C_new;
	Yaw_IntegralValue[1] += Yaw_DiffValue[1];
	if(Yaw_IntegralValue[1] > 3000)Yaw_IntegralValue[1] = 3000;
	else if (Yaw_IntegralValue[1] <-3000)Yaw_IntegralValue[1] = -3000;
	CurrentValue = (int)((P*Yaw_DiffValue[1]) + (I*Yaw_IntegralValue[1]) + (D*C_miss));
	if(CurrentValue > 100) CurrentValue = 100;
	if(CurrentValue < -100) CurrentValue = -100;
	return CurrentValue;
}

int Pitch_Location_PID_Right(int16_t R_value,int16_t C_value)
{
	float P = 2, I = 0.002, D = 0;
	float C_new=0,C_old=0,C_miss=0;
	int CurrentValue=0;
	C_old = Yaw_DiffValue[2];
	C_new = R_value - C_value;
	if(C_new>180)C_new-=360;
	if(C_new<(-180))C_new+=360;
	C_miss = C_new - C_old;
	Yaw_DiffValue[2] = C_new;
	Yaw_IntegralValue[2] += Yaw_DiffValue[2];
	if(Yaw_IntegralValue[2] > 3000)Yaw_IntegralValue[2] = 3000;
	else if (Yaw_IntegralValue[2] <-3000)Yaw_IntegralValue[2] = -3000;
	CurrentValue = (int)((P*Yaw_DiffValue[2]) + (I*Yaw_IntegralValue[2]) + (D*C_miss));
	if(CurrentValue > 100) CurrentValue = 100;
	if(CurrentValue < -100) CurrentValue = -100;
	return CurrentValue;
}

int Yaw_Speed_PID_Left(int16_t R_value,int16_t C_value)
{
	float P = 56, I = 0.2, D = 0;
	float C_new=0,C_old=0,C_miss=0;
	int CurrentValue=0;
	C_old = Yaw_DiffValue[4];
	C_new = R_value - C_value;
	C_miss = C_new - C_old;
	Yaw_DiffValue[4] = R_value - C_value;
	Yaw_IntegralValue[4] += Yaw_DiffValue[4];
	CurrentValue = (int)((P*Yaw_DiffValue[4]) + (I*Yaw_IntegralValue[4]) + (D*C_miss));
	if(CurrentValue > 12000) CurrentValue = 12000;
	if(CurrentValue < -12000) CurrentValue = -12000;
	return CurrentValue;
}

int Pitch_Speed_PID_Left(int16_t R_value,int16_t C_value)
{
	float P = 56, I = 0.2, D = 0;
	float C_new=0,C_old=0,C_miss=0;
	int CurrentValue=0;
	C_old = Yaw_DiffValue[3];
	C_new = R_value - C_value;
	C_miss = C_new - C_old;
	Yaw_DiffValue[3] = R_value - C_value;
	Yaw_IntegralValue[3] += Yaw_DiffValue[3];
	CurrentValue = (int)((P*Yaw_DiffValue[3]) + (I*Yaw_IntegralValue[3]) + (D*C_miss));
	if(CurrentValue > 12000) CurrentValue = 12000;
	if(CurrentValue < -12000) CurrentValue = -12000;
	return CurrentValue;
}

//拨弹轮PID
int BulletPID(int n , int n0 , int now_e,char number)
{
	float P = 1 ,D = 50;
	int temp,miss;
	temp = err[number-7];
	err[number-7] = n0 - n;
	miss = err[number-7] - temp;
	temp = now_e + P*err[number-7] + D*miss;

	if(temp > 5000) temp = 5000;
	if (temp < -5000) temp = -5000;
  return temp;
}

//底盘PID
int SpeedPID(int encoder , int except , int electric , int which){
	float PID_P = 0.03   , PID_D = 3 ;
	float least = 0  , new_electric = 0 ;
	least = except - encoder ;
	new_electric = electric + least*PID_P + PID_D*(least - Speed_Last_Least[which]) ;
	Speed_Last_Least[which] = least ;
	if(new_electric > Chassis_Max_I) new_electric = Chassis_Max_I ;
	if(new_electric < -Chassis_Max_I) new_electric = -Chassis_Max_I ;
	return new_electric;
}

void tim121_pwm_setvalue(uint16_t value)
{
    TIM_OC_InitTypeDef sConfigOC;
    sConfigOC.OCMode = TIM_OCMODE_PWM1;
    sConfigOC.Pulse = value;
    sConfigOC.OCPolarity = TIM_OCPOLARITY_HIGH;
    sConfigOC.OCFastMode = TIM_OCFAST_DISABLE;
    HAL_TIM_PWM_ConfigChannel(&htim12, &sConfigOC, TIM_CHANNEL_1);
    HAL_TIM_PWM_Start(&htim12, TIM_CHANNEL_1);
}
void tim122_pwm_setvalue(uint16_t value)
{
    TIM_OC_InitTypeDef sConfigOC;
    sConfigOC.OCMode = TIM_OCMODE_PWM1;
    sConfigOC.Pulse = value;
    sConfigOC.OCPolarity = TIM_OCPOLARITY_HIGH;
    sConfigOC.OCFastMode = TIM_OCFAST_DISABLE;
    HAL_TIM_PWM_ConfigChannel(&htim12, &sConfigOC, TIM_CHANNEL_2);
    HAL_TIM_PWM_Start(&htim12, TIM_CHANNEL_2);
}

void user_pwm_setvalue(uint16_t value)
{
    TIM_OC_InitTypeDef sConfigOC;
	  sConfigOC.OCMode = TIM_OCMODE_PWM1;
    sConfigOC.Pulse = value;
    sConfigOC.OCPolarity = TIM_OCPOLARITY_HIGH;
    sConfigOC.OCFastMode = TIM_OCFAST_DISABLE;

	  HAL_TIM_PWM_ConfigChannel(&htim8, &sConfigOC, TIM_CHANNEL_3);
    HAL_TIM_PWM_Start(&htim8, TIM_CHANNEL_3);

    HAL_TIM_PWM_ConfigChannel(&htim8, &sConfigOC, TIM_CHANNEL_4);
    HAL_TIM_PWM_Start(&htim8, TIM_CHANNEL_4);
}

/*****************************End*****************************************/

//电脑上位机显示
//void ShowDP(float var1 ,float var2 ,float var3 , uint8_t showPDs){
//	static int showPD_flag = 0 ;//显示分频
//	if(showPD_flag < showPDs){
//		showPD_flag++ ;
//		return ;
//	}else{
//		showPD_flag = 0 ;
//	}
//	int Send_Count = 0 ;
//	DataScope_Get_Channel_Data((float)var1, 1 );
//	DataScope_Get_Channel_Data((float)var2, 2 );
//	DataScope_Get_Channel_Data((float)var3, 3 );
//	Send_Count = DataScope_Data_Generate(3);
//	HAL_UART_Transmit(&huart6, (uint8_t *)&DataScope_OutPut_Buffer, Send_Count, 0xFFFF);
//}

////云台Pitch PID
//int PitchPID(int pecode , int pexcept , int pnum){
//	float pnum_temp,pnum_lost=0;
//	float PID_P = 5  ,PID_I = 0, PID_D = 50 ;
//	least = pexcept - pecode ;              //求偏差
//	Integral_least += least ;
//	if(1){ PID_I = 0 , Integral_least=0 ,PID_P = 3 ,PID_D = 50;}	//积分分离,带死区
//	else{ PID_I = 0.01, PID_P = 4 , PID_D = 100 ;}
//	pnum_temp = least*PID_P  + (float)PID_I*Integral_least + (float)PID_D*(least - Last_least);
//
//	if(1)pnum_lost=0.8*(pnum+pnum_lost)+0.2*pnum_temp;
//	else pnum_lost=0.7*(pnum+pnum_lost)+0.3*pnum_temp;
//
//	Last_least = least ;
//	pnum=pnum_lost;
//	pnum_lost-=pnum;
//
//	if(pnum > 3500) pnum = 3500 ;                 //限制输出最大值
//	if(pnum < -3500) pnum = -3500 ;               //限制输出最小值
//	//printf("%d\n" , ynum);
//	return pnum ;
//}
////云台Yaw PID
//int YawPID(int yecode , int yexcept , int ynum){
//	//float ynum_temp,ynum_lost=0;
//	float PID_P = 2  ,PID_I = 0, PID_D = 10 ;
//	Yaw_least = yexcept - yecode ;              //求偏差
//	Yaw_Integral_least += Yaw_least ;
//	ynum = Yaw_least * PID_P + Yaw_Integral_least * PID_I + PID_D*(Yaw_least - Yaw_Last_least);
//	Yaw_Last_least = Yaw_least ;
//	if(ynum > 3500) ynum = 3500 ;                 //限制输出最大值
//	if(ynum < -3500) ynum = -3500 ;               //限制输出最小值
//	printf("%d\n" , ynum);
//	return ynum ;
//}

//void SetShoot(int shoot){
//	static float pwm_shoot = 833 ;
//	if(shoot == 1 && pwm_shoot >= 1666){
//		pwm_shoot = 1666 ;
//	}else{
//		pwm_shoot = pwm_shoot + 0.2;
//	};
//	if(shoot == 0){
//		pwm_shoot = 833 ;
//	}
//	tim121_pwm_setvalue((int)pwm_shoot);
//	tim122_pwm_setvalue((int)pwm_shoot);
//}

/** System Clock Configuration
*/
void SystemClock_Config(void)
{

  RCC_OscInitTypeDef RCC_OscInitStruct;
  RCC_ClkInitTypeDef RCC_ClkInitStruct;

    /**Configure the main internal regulator output voltage
    */
  __HAL_RCC_PWR_CLK_ENABLE();

  __HAL_PWR_VOLTAGESCALING_CONFIG(PWR_REGULATOR_VOLTAGE_SCALE1);

    /**Initializes the CPU, AHB and APB busses clocks
    */
  RCC_OscInitStruct.OscillatorType = RCC_OSCILLATORTYPE_HSE;
  RCC_OscInitStruct.HSEState = RCC_HSE_ON;
  RCC_OscInitStruct.PLL.PLLState = RCC_PLL_ON;
  RCC_OscInitStruct.PLL.PLLSource = RCC_PLLSOURCE_HSE;
  RCC_OscInitStruct.PLL.PLLM = 12;
  RCC_OscInitStruct.PLL.PLLN = 336;
  RCC_OscInitStruct.PLL.PLLP = RCC_PLLP_DIV2;
  RCC_OscInitStruct.PLL.PLLQ = 7;
  if (HAL_RCC_OscConfig(&RCC_OscInitStruct) != HAL_OK)
  {
    Error_Handler();
  }

    /**Initializes the CPU, AHB and APB busses clocks
    */
  RCC_ClkInitStruct.ClockType = RCC_CLOCKTYPE_HCLK|RCC_CLOCKTYPE_SYSCLK
                              |RCC_CLOCKTYPE_PCLK1|RCC_CLOCKTYPE_PCLK2;
  RCC_ClkInitStruct.SYSCLKSource = RCC_SYSCLKSOURCE_PLLCLK;
  RCC_ClkInitStruct.AHBCLKDivider = RCC_SYSCLK_DIV1;
  RCC_ClkInitStruct.APB1CLKDivider = RCC_HCLK_DIV4;
  RCC_ClkInitStruct.APB2CLKDivider = RCC_HCLK_DIV2;

  if (HAL_RCC_ClockConfig(&RCC_ClkInitStruct, FLASH_LATENCY_5) != HAL_OK)
  {
    Error_Handler();
  }

    /**Configure the Systick interrupt time
    */
  HAL_SYSTICK_Config(HAL_RCC_GetHCLKFreq()/1000);

    /**Configure the Systick
    */
  HAL_SYSTICK_CLKSourceConfig(SYSTICK_CLKSOURCE_HCLK);

  /* SysTick_IRQn interrupt configuration */
  HAL_NVIC_SetPriority(SysTick_IRQn, 0, 0);

}

/* USER CODE BEGIN 4 */

//void bigshoot1_pwm_setvalue(uint16_t value)
//{
//    TIM_OC_InitTypeDef sConfigOC;
//    sConfigOC.OCMode = TIM_OCMODE_PWM1;
//    sConfigOC.Pulse = value;
//    sConfigOC.OCPolarity = TIM_OCPOLARITY_HIGH;
//    sConfigOC.OCFastMode = TIM_OCFAST_DISABLE;
//    HAL_TIM_PWM_ConfigChannel(&htim8, &sConfigOC, TIM_CHANNEL_3);
//    HAL_TIM_PWM_Start(&htim8, TIM_CHANNEL_3);
//}
//void bigshoot2_pwm_setvalue(uint16_t value)
//{
//    TIM_OC_InitTypeDef sConfigOC;
//    sConfigOC.OCMode = TIM_OCMODE_PWM1;
//    sConfigOC.Pulse = value;
//    sConfigOC.OCPolarity = TIM_OCPOLARITY_HIGH;
//    sConfigOC.OCFastMode = TIM_OCFAST_DISABLE;
//    HAL_TIM_PWM_ConfigChannel(&htim8, &sConfigOC, TIM_CHANNEL_4);
//    HAL_TIM_PWM_Start(&htim8, TIM_CHANNEL_4);
//}
/* USER CODE END 4 */

void Error_Handler(void)
{
  while(1)
  {
  }
}

/************************ (C) COPYRIGHT STMicroelectronics *****END OF FILE****/
